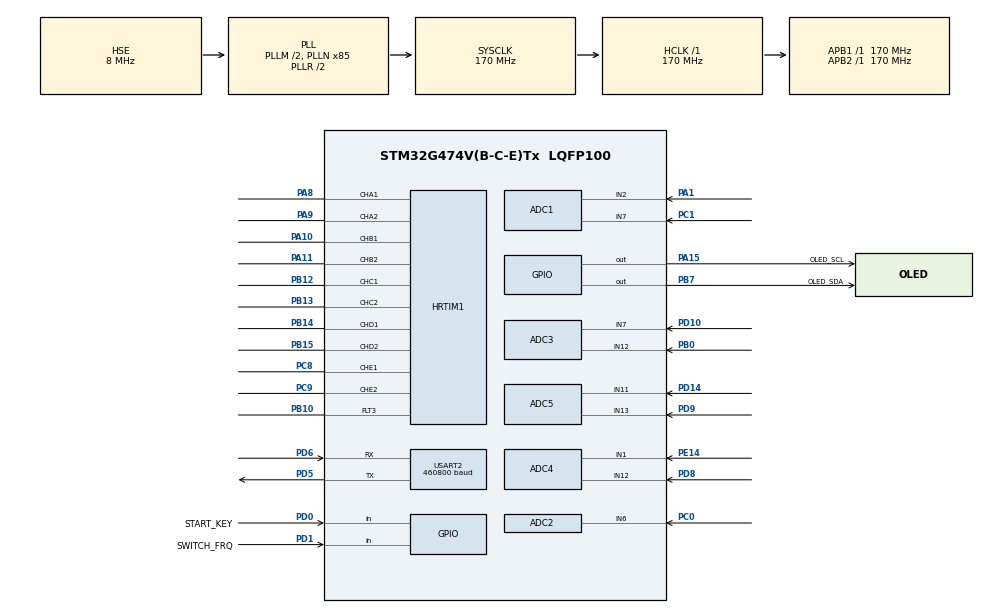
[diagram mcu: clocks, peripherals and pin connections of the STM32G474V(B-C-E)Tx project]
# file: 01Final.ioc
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ADC1.AWD1HighThreshold=4095
ADC1.AWD1ITMode=ENABLE
ADC1.AWD2HighThreshold=4095
ADC1.AWD2ITMode=ENABLE
ADC1.AWDChannel-1\#ChannelRegularConversion=ADC_CHANNEL_7
ADC1.Channel-0\#ChannelRegularConversion=ADC_CHANNEL_2
ADC1.Channel-1\#ChannelRegularConversion=ADC_CHANNEL_7
ADC1.ClockPrescaler=ADC_CLOCK_ASYNC_DIV4
ADC1.DMAContinuousRequests=ENABLE
ADC1.EOCSelection=ADC_EOC_SEQ_CONV
ADC1.EnableAnalogWatchDog1=true
ADC1.EnableAnalogWatchDog2=true
ADC1.ExternalTrigConv=ADC_EXTERNALTRIG_HRTIM_TRG1
ADC1.MonitoredBy-1\#ChannelRegularConversion=ADC_ANALOGWATCHDOG_2
ADC1.NbrOfConversion=2
ADC1.NbrOfConversionFlag=1
ADC1.OffsetNumber-0\#ChannelRegularConversion=ADC_OFFSET_NONE
ADC1.OffsetNumber-1\#ChannelRegularConversion=ADC_OFFSET_NONE
ADC1.Overrun=ADC_OVR_DATA_OVERWRITTEN
ADC1.Rank-0\#ChannelRegularConversion=1
ADC1.Rank-1\#ChannelRegularConversion=2
ADC1.RegFilteringConfig-1\#ChannelRegularConversion=ADC_AWD_FILTERING_NONE
ADC1.SamplingTime-0\#ChannelRegularConversion=ADC_SAMPLETIME_24CYCLES_5
ADC1.SamplingTime-1\#ChannelRegularConversion=ADC_SAMPLETIME_24CYCLES_5
ADC1.WDG2ChannelR2=ADC_CHANNEL_7
ADC1.WatchdogChannel=ADC_CHANNEL_2
ADC1.WatchdogMode2=ADC_ANALOGWATCHDOG_SINGLE_REGINJEC
ADC1.master=1
ADC2.AWD1HighThreshold=4095
ADC2.AWD1ITMode=ENABLE
ADC2.Channel-0\#ChannelRegularConversion=ADC_CHANNEL_6
ADC2.ClockPrescaler=ADC_CLOCK_ASYNC_DIV4
ADC2.DMAContinuousRequests=ENABLE
ADC2.EOCSelection=ADC_EOC_SEQ_CONV
ADC2.EnableAnalogWatchDog1=true
ADC2.ExternalTrigConv=ADC_EXTERNALTRIG_HRTIM_TRG1
ADC2.NbrOfConversion=1
ADC2.NbrOfConversionFlag=1
ADC2.OffsetNumber-0\#ChannelRegularConversion=ADC_OFFSET_NONE
ADC2.Overrun=ADC_OVR_DATA_OVERWRITTEN
ADC2.Rank-0\#ChannelRegularConversion=1
ADC2.SamplingTime-0\#ChannelRegularConversion=ADC_SAMPLETIME_24CYCLES_5
ADC2.WatchdogChannel=ADC_CHANNEL_6
ADC3.AWD1HighThreshold=4095
ADC3.AWD1ITMode=ENABLE
ADC3.AWD2HighThreshold=4095
ADC3.AWD2ITMode=ENABLE
ADC3.AWDChannel-2\#ChannelRegularConversion=ADC_CHANNEL_7
ADC3.Channel-0\#ChannelRegularConversion=ADC_CHANNEL_12
ADC3.Channel-2\#ChannelRegularConversion=ADC_CHANNEL_7
ADC3.ClockPrescaler=ADC_CLOCK_ASYNC_DIV4
ADC3.DMAContinuousRequests=ENABLE
ADC3.EOCSelection=ADC_EOC_SEQ_CONV
ADC3.EnableAnalogWatchDog1=true
ADC3.EnableAnalogWatchDog2=true
ADC3.ExternalTrigConv=ADC_EXTERNALTRIG_HRTIM_TRG2
ADC3.MonitoredBy-2\#ChannelRegularConversion=ADC_ANALOGWATCHDOG_2
ADC3.NbrOfConversion=2
ADC3.NbrOfConversionFlag=1
ADC3.OffsetNumber-2\#ChannelRegularConversion=ADC_OFFSET_NONE
ADC3.Overrun=ADC_OVR_DATA_OVERWRITTEN
ADC3.Rank-2\#ChannelRegularConversion=2
ADC3.RegFilteringConfig-2\#ChannelRegularConversion=ADC_AWD_FILTERING_NONE
ADC3.SamplingTime-0\#ChannelRegularConversion=ADC_SAMPLETIME_24CYCLES_5
ADC3.SamplingTime-2\#ChannelRegularConversion=ADC_SAMPLETIME_24CYCLES_5
ADC3.WDG2ChannelR2=ADC_CHANNEL_7
ADC3.WatchdogChannel=ADC_CHANNEL_12
ADC3.WatchdogMode2=ADC_ANALOGWATCHDOG_SINGLE_REGINJEC
ADC3.master=1
ADC4.AWD1HighThreshold=4095
ADC4.AWD1ITMode=ENABLE
ADC4.AWD2HighThreshold=4095
ADC4.AWD2ITMode=ENABLE
ADC4.AWDChannel-1\#ChannelRegularConversion=ADC_CHANNEL_1
ADC4.Channel-0\#ChannelRegularConversion=ADC_CHANNEL_12
ADC4.Channel-1\#ChannelRegularConversion=ADC_CHANNEL_1
ADC4.ClockPrescaler=ADC_CLOCK_ASYNC_DIV4
ADC4.DMAContinuousRequests=ENABLE
ADC4.EOCSelection=ADC_EOC_SEQ_CONV
ADC4.EnableAnalogWatchDog1=true
ADC4.EnableAnalogWatchDog2=true
ADC4.ExternalTrigConv=ADC_EXTERNALTRIG_HRTIM_TRG2
ADC4.MonitoredBy-1\#ChannelRegularConversion=ADC_ANALOGWATCHDOG_2
ADC4.NbrOfConversion=2
ADC4.NbrOfConversionFlag=1
ADC4.OffsetNumber-0\#ChannelRegularConversion=ADC_OFFSET_NONE
ADC4.OffsetNumber-1\#ChannelRegularConversion=ADC_OFFSET_NONE
ADC4.Overrun=ADC_OVR_DATA_OVERWRITTEN
ADC4.Rank-0\#ChannelRegularConversion=1
ADC4.Rank-1\#ChannelRegularConversion=2
ADC4.RegFilteringConfig-1\#ChannelRegularConversion=ADC_AWD_FILTERING_NONE
ADC4.SamplingTime-0\#ChannelRegularConversion=ADC_SAMPLETIME_24CYCLES_5
ADC4.SamplingTime-1\#ChannelRegularConversion=ADC_SAMPLETIME_24CYCLES_5
ADC4.WDG2ChannelR2=ADC_CHANNEL_1
ADC4.WatchdogChannel=ADC_CHANNEL_12
ADC4.WatchdogMode2=ADC_ANALOGWATCHDOG_SINGLE_REGINJEC
ADC5.AWD1HighThreshold=4095
ADC5.AWD1ITMode=ENABLE
ADC5.AWD2HighThreshold=4095
ADC5.AWD2ITMode=ENABLE
ADC5.AWDChannel-1\#ChannelRegularConversion=ADC_CHANNEL_11
ADC5.Channel-0\#ChannelRegularConversion=ADC_CHANNEL_13
ADC5.Channel-1\#ChannelRegularConversion=ADC_CHANNEL_11
ADC5.ClockPrescaler=ADC_CLOCK_ASYNC_DIV4
ADC5.DMAContinuousRequests=ENABLE
ADC5.EOCSelection=ADC_EOC_SEQ_CONV
ADC5.EnableAnalogWatchDog1=true
ADC5.EnableAnalogWatchDog2=true
ADC5.ExternalTrigConv=ADC_EXTERNALTRIG_HRTIM_TRG2
ADC5.MonitoredBy-1\#ChannelRegularConversion=ADC_ANALOGWATCHDOG_2
ADC5.NbrOfConversion=2
ADC5.NbrOfConversionFlag=1
ADC5.OffsetNumber-0\#ChannelRegularConversion=ADC_OFFSET_NONE
ADC5.OffsetNumber-1\#ChannelRegularConversion=ADC_OFFSET_NONE
ADC5.Overrun=ADC_OVR_DATA_OVERWRITTEN
ADC5.Rank-0\#ChannelRegularConversion=1
ADC5.Rank-1\#ChannelRegularConversion=2
ADC5.RegFilteringConfig-1\#ChannelRegularConversion=ADC_AWD_FILTERING_NONE
ADC5.SamplingTime-0\#ChannelRegularConversion=ADC_SAMPLETIME_24CYCLES_5
ADC5.SamplingTime-1\#ChannelRegularConversion=ADC_SAMPLETIME_24CYCLES_5
ADC5.WDG2ChannelR2=ADC_CHANNEL_11
ADC5.WatchdogChannel=ADC_CHANNEL_13
ADC5.WatchdogMode2=ADC_ANALOGWATCHDOG_SINGLE_REGINJEC
Dma.ADC1.0.Direction=DMA_PERIPH_TO_MEMORY
Dma.ADC1.0.EventEnable=DISABLE
Dma.ADC1.0.Instance=DMA1_Channel1
Dma.ADC1.0.MemDataAlignment=DMA_MDATAALIGN_HALFWORD
Dma.ADC1.0.MemInc=DMA_MINC_ENABLE
Dma.ADC1.0.Mode=DMA_CIRCULAR
Dma.ADC1.0.PeriphDataAlignment=DMA_PDATAALIGN_HALFWORD
Dma.ADC1.0.PeriphInc=DMA_PINC_DISABLE
Dma.ADC1.0.Polarity=HAL_DMAMUX_REQ_GEN_RISING
Dma.ADC1.0.Priority=DMA_PRIORITY_HIGH
Dma.ADC1.0.RequestNumber=1
Dma.ADC1.0.SignalID=NONE
Dma.ADC1.0.SyncEnable=DISABLE
Dma.ADC1.0.SyncPolarity=HAL_DMAMUX_SYNC_NO_EVENT
Dma.ADC1.0.SyncRequestNumber=1
Dma.ADC1.0.SyncSignalID=NONE
Dma.ADC2.1.Direction=DMA_PERIPH_TO_MEMORY
Dma.ADC2.1.EventEnable=DISABLE
Dma.ADC2.1.Instance=DMA1_Channel2
Dma.ADC2.1.MemDataAlignment=DMA_MDATAALIGN_HALFWORD
Dma.ADC2.1.MemInc=DMA_MINC_ENABLE
Dma.ADC2.1.Mode=DMA_CIRCULAR
Dma.ADC2.1.PeriphDataAlignment=DMA_PDATAALIGN_HALFWORD
Dma.ADC2.1.PeriphInc=DMA_PINC_DISABLE
Dma.ADC2.1.Polarity=HAL_DMAMUX_REQ_GEN_RISING
Dma.ADC2.1.Priority=DMA_PRIORITY_HIGH
Dma.ADC2.1.RequestNumber=1
Dma.ADC2.1.SignalID=NONE
Dma.ADC2.1.SyncEnable=DISABLE
Dma.ADC2.1.SyncPolarity=HAL_DMAMUX_SYNC_NO_EVENT
Dma.ADC2.1.SyncRequestNumber=1
Dma.ADC2.1.SyncSignalID=NONE
Dma.ADC3.4.Direction=DMA_PERIPH_TO_MEMORY
Dma.ADC3.4.EventEnable=DISABLE
Dma.ADC3.4.Instance=DMA2_Channel1
Dma.ADC3.4.MemDataAlignment=DMA_MDATAALIGN_HALFWORD
Dma.ADC3.4.MemInc=DMA_MINC_ENABLE
Dma.ADC3.4.Mode=DMA_CIRCULAR
Dma.ADC3.4.PeriphDataAlignment=DMA_PDATAALIGN_HALFWORD
Dma.ADC3.4.PeriphInc=DMA_PINC_DISABLE
Dma.ADC3.4.Polarity=HAL_DMAMUX_REQ_GEN_RISING
Dma.ADC3.4.Priority=DMA_PRIORITY_HIGH
Dma.ADC3.4.RequestNumber=1
Dma.ADC3.4.SignalID=NONE
Dma.ADC3.4.SyncEnable=DISABLE
Dma.ADC3.4.SyncPolarity=HAL_DMAMUX_SYNC_NO_EVENT
Dma.ADC3.4.SyncRequestNumber=1
Dma.ADC3.4.SyncSignalID=NONE
Dma.ADC4.2.Direction=DMA_PERIPH_TO_MEMORY
Dma.ADC4.2.EventEnable=DISABLE
Dma.ADC4.2.Instance=DMA2_Channel2
Dma.ADC4.2.MemDataAlignment=DMA_MDATAALIGN_HALFWORD
Dma.ADC4.2.MemInc=DMA_MINC_ENABLE
Dma.ADC4.2.Mode=DMA_CIRCULAR
Dma.ADC4.2.PeriphDataAlignment=DMA_PDATAALIGN_HALFWORD
Dma.ADC4.2.PeriphInc=DMA_PINC_DISABLE
Dma.ADC4.2.Polarity=HAL_DMAMUX_REQ_GEN_RISING
Dma.ADC4.2.Priority=DMA_PRIORITY_HIGH
Dma.ADC4.2.RequestNumber=1
Dma.ADC4.2.SignalID=NONE
Dma.ADC4.2.SyncEnable=DISABLE
Dma.ADC4.2.SyncPolarity=HAL_DMAMUX_SYNC_NO_EVENT
Dma.ADC4.2.SyncRequestNumber=1
Dma.ADC4.2.SyncSignalID=NONE
Dma.ADC5.3.Direction=DMA_PERIPH_TO_MEMORY
Dma.ADC5.3.EventEnable=DISABLE
Dma.ADC5.3.Instance=DMA2_Channel3
Dma.ADC5.3.MemDataAlignment=DMA_MDATAALIGN_HALFWORD
Dma.ADC5.3.MemInc=DMA_MINC_ENABLE
Dma.ADC5.3.Mode=DMA_CIRCULAR
Dma.ADC5.3.PeriphDataAlignment=DMA_PDATAALIGN_HALFWORD
Dma.ADC5.3.PeriphInc=DMA_PINC_DISABLE
Dma.ADC5.3.Polarity=HAL_DMAMUX_REQ_GEN_RISING
Dma.ADC5.3.Priority=DMA_PRIORITY_HIGH
Dma.ADC5.3.RequestNumber=1
Dma.ADC5.3.SignalID=NONE
Dma.ADC5.3.SyncEnable=DISABLE
Dma.ADC5.3.SyncPolarity=HAL_DMAMUX_SYNC_NO_EVENT
Dma.ADC5.3.SyncRequestNumber=1
Dma.ADC5.3.SyncSignalID=NONE
Dma.Request0=ADC1
Dma.Request1=ADC2
Dma.Request2=ADC4
Dma.Request3=ADC5
Dma.Request4=ADC3
HRTIM1.ADCTrigger1_Source1=HRTIM_ADCTRIGGEREVENT13_MASTER_CMP2
HRTIM1.ADCTrigger2_Source1=HRTIM_ADCTRIGGEREVENT24_MASTER_CMP2
HRTIM1.ADCTrigger_Id1=HRTIM_ADCTRIGGER_1
HRTIM1.ADCTrigger_Id2=HRTIM_ADCTRIGGER_2
HRTIM1.BlankingSourceFaultLine3=__NULL
HRTIM1.Bmrom_TA=HRTIM_TIM_BMROM_BOTH
HRTIM1.Bmrom_TB=HRTIM_TIM_BMROM_BOTH
HRTIM1.Bmrom_TC=HRTIM_TIM_BMROM_BOTH
HRTIM1.Bmrom_TD=HRTIM_TIM_BMROM_BOTH
HRTIM1.Bmrom_TE=HRTIM_TIM_BMROM_BOTH
HRTIM1.CompareUnit1-MasterTimer=__NULL
HRTIM1.CompareUnit1-Output_TA1TA2=HRTIM_COMPAREUNIT_1
HRTIM1.CompareUnit1-Output_TB1TB2=HRTIM_COMPAREUNIT_1
HRTIM1.CompareUnit1-Output_TC1TC2=HRTIM_COMPAREUNIT_1
HRTIM1.CompareUnit1-Output_TD1TD2=HRTIM_COMPAREUNIT_1
HRTIM1.CompareUnit1-Output_TE1TE2=HRTIM_COMPAREUNIT_1
HRTIM1.CompareUnit2-MasterTimer=HRTIM_COMPAREUNIT_2
HRTIM1.CompareValue1-Output_TA1TA2=17000
HRTIM1.CompareValue1-Output_TB1TB2=17000
HRTIM1.CompareValue1-Output_TC1TC2=17000
HRTIM1.CompareValue1-Output_TD1TD2=17000
HRTIM1.CompareValue1-Output_TE1TE2=17000
HRTIM1.CompareValue2-MasterTimer=17000
HRTIM1.DeadTimeInsertion-Output_TA1TA2=HRTIM_TIMDEADTIMEINSERTION_ENABLED
HRTIM1.DeadTimeInsertion-Output_TB1TB2=HRTIM_TIMDEADTIMEINSERTION_ENABLED
HRTIM1.DeadTimeInsertion-Output_TC1TC2=HRTIM_TIMDEADTIMEINSERTION_ENABLED
HRTIM1.DeadTimeInsertion-Output_TD1TD2=HRTIM_TIMDEADTIMEINSERTION_ENABLED
HRTIM1.DeadTimeInsertion-Output_TE1TE2=HRTIM_TIMDEADTIMEINSERTION_ENABLED
HRTIM1.FallingValue-Output_TA1TA2=85
HRTIM1.FallingValue-Output_TB1TB2=85
HRTIM1.FallingValue-Output_TC1TC2=85
HRTIM1.FallingValue-Output_TD1TD2=85
HRTIM1.FallingValue-Output_TE1TE2=85
HRTIM1.FaultEnable_Source1-Output_TA1TA2=HRTIM_TIMFAULTENABLE_FAULT3
HRTIM1.FaultEnable_Source1-Output_TB1TB2=HRTIM_TIMFAULTENABLE_FAULT3
HRTIM1.FaultEnable_Source1-Output_TC1TC2=HRTIM_TIMFAULTENABLE_FAULT3
HRTIM1.FaultEnable_Source1-Output_TD1TD2=HRTIM_TIMFAULTENABLE_FAULT3
HRTIM1.FaultEnable_Source1-Output_TE1TE2=HRTIM_TIMFAULTENABLE_FAULT3
HRTIM1.FaultLevel1-Output_TA1TA2=HRTIM_OUTPUTFAULTLEVEL_INACTIVE
HRTIM1.FaultLevel1-Output_TB1TB2=HRTIM_OUTPUTFAULTLEVEL_INACTIVE
HRTIM1.FaultLevel1-Output_TC1TC2=HRTIM_OUTPUTFAULTLEVEL_INACTIVE
HRTIM1.FaultLevel1-Output_TD1TD2=HRTIM_OUTPUTFAULTLEVEL_INACTIVE
HRTIM1.FaultLevel1-Output_TE1TE2=HRTIM_OUTPUTFAULTLEVEL_INACTIVE
HRTIM1.FaultLevel2-Output_TA1TA2=HRTIM_OUTPUTFAULTLEVEL_INACTIVE
HRTIM1.FaultLevel2-Output_TB1TB2=HRTIM_OUTPUTFAULTLEVEL_INACTIVE
HRTIM1.FaultLevel2-Output_TC1TC2=HRTIM_OUTPUTFAULTLEVEL_INACTIVE
HRTIM1.FaultLevel2-Output_TD1TD2=HRTIM_OUTPUTFAULTLEVEL_INACTIVE
HRTIM1.FaultLevel2-Output_TE1TE2=HRTIM_OUTPUTFAULTLEVEL_INACTIVE
HRTIM1.Fault_Line3=HRTIM_FAULT_3
HRTIM1.Ferom_TA=HRTIM_TIM_FEROM_BOTH
HRTIM1.Ferom_TB=HRTIM_TIM_FEROM_BOTH
HRTIM1.Ferom_TC=HRTIM_TIM_FEROM_BOTH
HRTIM1.Ferom_TD=HRTIM_TIM_FEROM_BOTH
HRTIM1.Ferom_TE=HRTIM_TIM_FEROM_BOTH
HRTIM1.HRTIMInterruptResquests1=HRTIM_IT_FLT3
HRTIM1.NumberADCTriggerSource1=1
HRTIM1.NumberADCTriggerSource2=1
HRTIM1.NumberFaultEnable-Output_TA1TA2=1
HRTIM1.NumberFaultEnable-Output_TB1TB2=1
HRTIM1.NumberFaultEnable-Output_TC1TC2=1
HRTIM1.NumberFaultEnable-Output_TD1TD2=1
HRTIM1.NumberFaultEnable-Output_TE1TE2=1
HRTIM1.NumberResetSource1-Output_TA1TA2=1
HRTIM1.NumberResetSource1-Output_TB1TB2=1
HRTIM1.NumberResetSource1-Output_TC1TC2=1
HRTIM1.NumberResetSource1-Output_TD1TD2=1
HRTIM1.NumberResetSource1-Output_TE1TE2=1
HRTIM1.NumberSetSource1-Output_TA1TA2=1
HRTIM1.NumberSetSource1-Output_TB1TB2=1
HRTIM1.NumberSetSource1-Output_TC1TC2=1
HRTIM1.NumberSetSource1-Output_TD1TD2=1
HRTIM1.NumberSetSource1-Output_TE1TE2=1
HRTIM1.NumberUpdateTrigger-Output_TA1TA2=0
HRTIM1.Outrom_TA=HRTIM_TIM_OUTROM_VALLEY
HRTIM1.Outrom_TB=HRTIM_TIM_OUTROM_VALLEY
HRTIM1.Outrom_TC=HRTIM_TIM_OUTROM_VALLEY
HRTIM1.Outrom_TD=HRTIM_TIM_OUTROM_VALLEY
HRTIM1.Outrom_TE=HRTIM_TIM_OUTROM_VALLEY
HRTIM1.Periode_MASTER=34000
HRTIM1.Periode_TA=34000
HRTIM1.Periode_TB=34000
HRTIM1.Periode_TC=34000
HRTIM1.Periode_TD=34000
HRTIM1.Periode_TE=34000
HRTIM1.Polarity_FaultLine3=HRTIM_FAULTPOLARITY_LOW
HRTIM1.PreloadEnable-Output_TA1TA2=HRTIM_PRELOAD_ENABLED
HRTIM1.PreloadEnable-Output_TB1TB2=HRTIM_PRELOAD_ENABLED
HRTIM1.PreloadEnable-Output_TC1TC2=HRTIM_PRELOAD_ENABLED
HRTIM1.PreloadEnable-Output_TD1TD2=HRTIM_PRELOAD_ENABLED
HRTIM1.PreloadEnable-Output_TE1TE2=HRTIM_PRELOAD_ENABLED
HRTIM1.PrescalerDead-Output_TA1TA2=HRTIM_TIMDEADTIME_PRESCALERRATIO_DIV1
HRTIM1.PrescalerDead-Output_TB1TB2=HRTIM_TIMDEADTIME_PRESCALERRATIO_DIV1
HRTIM1.PrescalerDead-Output_TC1TC2=HRTIM_TIMDEADTIME_PRESCALERRATIO_DIV1
HRTIM1.PrescalerDead-Output_TD1TD2=HRTIM_TIMDEADTIME_PRESCALERRATIO_DIV1
HRTIM1.PrescalerDead-Output_TE1TE2=HRTIM_TIMDEADTIME_PRESCALERRATIO_DIV1
HRTIM1.PrescalerRatio_MASTER=HRTIM_PRESCALERRATIO_MUL2
HRTIM1.PrescalerRatio_TA=HRTIM_PRESCALERRATIO_MUL4
HRTIM1.PrescalerRatio_TB=HRTIM_PRESCALERRATIO_MUL4
HRTIM1.PrescalerRatio_TC=HRTIM_PRESCALERRATIO_MUL4
HRTIM1.PrescalerRatio_TD=HRTIM_PRESCALERRATIO_MUL4
HRTIM1.PrescalerRatio_TE=HRTIM_PRESCALERRATIO_MUL4
HRTIM1.RepetitionCounter-MasterTimer=0
HRTIM1.RepetitionCounter-Output_TA1TA2=0
HRTIM1.RepetitionCounter-Output_TB1TB2=0
HRTIM1.RepetitionCounter-Output_TC1TC2=0
HRTIM1.RepetitionCounter-Output_TD1TD2=0
HRTIM1.RepetitionCounter-Output_TE1TE2=0
HRTIM1.RepetitionUpdate-Output_TA1TA2=HRTIM_UPDATEONREPETITION_ENABLED
HRTIM1.RepetitionUpdate-Output_TB1TB2=HRTIM_UPDATEONREPETITION_ENABLED
HRTIM1.RepetitionUpdate-Output_TC1TC2=HRTIM_UPDATEONREPETITION_ENABLED
HRTIM1.RepetitionUpdate-Output_TD1TD2=HRTIM_UPDATEONREPETITION_ENABLED
HRTIM1.RepetitionUpdate-Output_TE1TE2=HRTIM_UPDATEONREPETITION_ENABLED
HRTIM1.ResetOutput1_Source1-Output_TA1TA2=HRTIM_OUTPUTRESET_TIMCMP1
HRTIM1.ResetOutput1_Source1-Output_TB1TB2=HRTIM_OUTPUTRESET_TIMCMP1
HRTIM1.ResetOutput1_Source1-Output_TC1TC2=HRTIM_OUTPUTRESET_TIMCMP1
HRTIM1.ResetOutput1_Source1-Output_TD1TD2=HRTIM_OUTPUTRESET_TIMCMP1
HRTIM1.ResetOutput1_Source1-Output_TE1TE2=HRTIM_OUTPUTRESET_TIMCMP1
HRTIM1.RisingValue-Output_TA1TA2=85
HRTIM1.RisingValue-Output_TB1TB2=85
HRTIM1.RisingValue-Output_TC1TC2=85
HRTIM1.RisingValue-Output_TD1TD2=85
HRTIM1.RisingValue-Output_TE1TE2=85
HRTIM1.SetOutput1_Source1-Output_TA1TA2=HRTIM_OUTPUTSET_TIMCMP1
HRTIM1.SetOutput1_Source1-Output_TB1TB2=HRTIM_OUTPUTSET_TIMCMP1
HRTIM1.SetOutput1_Source1-Output_TC1TC2=HRTIM_OUTPUTSET_TIMCMP1
HRTIM1.SetOutput1_Source1-Output_TD1TD2=HRTIM_OUTPUTSET_TIMCMP1
HRTIM1.SetOutput1_Source1-Output_TE1TE2=HRTIM_OUTPUTSET_TIMCMP1
HRTIM1.UpDownMode-Output_TA1TA2=HRTIM_TIMERUPDOWNMODE_UPDOWN
HRTIM1.UpDownMode-Output_TB1TB2=HRTIM_TIMERUPDOWNMODE_UPDOWN
HRTIM1.UpDownMode-Output_TC1TC2=HRTIM_TIMERUPDOWNMODE_UPDOWN
HRTIM1.UpDownMode-Output_TD1TD2=HRTIM_TIMERUPDOWNMODE_UPDOWN
HRTIM1.UpDownMode-Output_TE1TE2=HRTIM_TIMERUPDOWNMODE_UPDOWN
HRTIM1.postscaler1=0
HRTIM1.postscaler2=0
HRTIM1.rom_TA=HRTIM_TIM_ROM_VALLEY
HRTIM1.rom_TB=HRTIM_TIM_ROM_VALLEY
HRTIM1.rom_TC=HRTIM_TIM_ROM_VALLEY
HRTIM1.rom_TD=HRTIM_TIM_ROM_VALLEY
HRTIM1.rom_TE=HRTIM_TIM_ROM_VALLEY
IWDG.Prescaler=IWDG_PRESCALER_64
IWDG.Reload=249
Mcu.Family=STM32G4
Mcu.Name=STM32G474V(B-C-E)Tx
Mcu.Package=LQFP100
NVIC.ADC1_2_IRQn=true\:1\:0\:true\:false\:true\:true\:true\:true
NVIC.ADC3_IRQn=true\:1\:0\:true\:false\:true\:true\:true\:true
NVIC.ADC4_IRQn=true\:1\:0\:true\:false\:true\:true\:true\:true
NVIC.ADC5_IRQn=true\:1\:0\:true\:false\:true\:true\:true\:true
NVIC.DMA1_Channel1_IRQn=true\:2\:0\:true\:false\:true\:false\:true\:true
NVIC.DMA1_Channel2_IRQn=true\:1\:0\:true\:false\:true\:false\:true\:true
NVIC.DMA2_Channel1_IRQn=true\:1\:0\:true\:false\:true\:false\:true\:true
NVIC.DMA2_Channel2_IRQn=true\:1\:0\:true\:false\:true\:false\:true\:true
NVIC.DMA2_Channel3_IRQn=true\:1\:0\:true\:false\:true\:false\:true\:true
NVIC.HRTIM1_FLT_IRQn=true\:0\:0\:false\:false\:true\:true\:true\:true
NVIC.PriorityGroup=NVIC_PRIORITYGROUP_4
PA1.Mode=IN2-Single-Ended
PA1.Signal=ADC1_IN2
PA10.Mode=Output_TB1TB2
PA10.Signal=HRTIM1_CHB1
PA11.Mode=Output_TB1TB2
PA11.Signal=HRTIM1_CHB2
PA13.Mode=Serial_Wire
PA13.Signal=SYS_JTMS-SWDIO
PA14.Mode=Serial_Wire
PA14.Signal=SYS_JTCK-SWCLK
PA15.GPIO_Label=OLED_SCL
PA15.GPIO_ModeDefaultOutputPP=GPIO_MODE_OUTPUT_PP
PA15.GPIO_PuPd=GPIO_NOPULL
PA15.GPIO_Speed=GPIO_SPEED_FREQ_HIGH
PA15.Signal=GPIO_Output
PA8.Mode=Output_TA1TA2
PA8.Signal=HRTIM1_CHA1
PA9.Mode=Output_TA1TA2
PA9.Signal=HRTIM1_CHA2
PB0.Mode=IN12-Single-Ended
PB0.Signal=ADC3_IN12
PB10.GPIO_PuPd=GPIO_PULLUP
PB10.Mode=Fault_Enable3
PB10.Signal=HRTIM1_FLT3
PB12.Mode=Output_TC1TC2
PB12.Signal=HRTIM1_CHC1
PB13.Mode=Output_TC1TC2
PB13.Signal=HRTIM1_CHC2
PB14.Mode=Output_TD1TD2
PB14.Signal=HRTIM1_CHD1
PB15.Mode=Output_TD1TD2
PB15.Signal=HRTIM1_CHD2
PB7.GPIO_Label=OLED_SDA
PB7.GPIO_ModeDefaultOutputPP=GPIO_MODE_OUTPUT_OD
PB7.GPIO_PuPd=GPIO_NOPULL
PB7.GPIO_Speed=GPIO_SPEED_FREQ_HIGH
PB7.Signal=GPIO_Output
PC0.Mode=IN6-Single-Ended
PC0.Signal=ADC2_IN6
PC1.Mode=IN7-Single-Ended
PC1.Signal=ADC1_IN7
PC8.Mode=Output_TE1TE2
PC8.Signal=HRTIM1_CHE1
PC9.Mode=Output_TE1TE2
PC9.Signal=HRTIM1_CHE2
PD0.GPIO_Label=START_KEY
PD0.GPIO_PuPd=GPIO_PULLUP
PD0.Signal=GPIO_Input
PD1.GPIO_Label=SWITCH_FRQ
PD1.GPIO_PuPd=GPIO_PULLUP
PD1.Signal=GPIO_Input
PD10.Mode=IN7-Single-Ended
PD10.Signal=ADC3_IN7
PD14.Mode=IN11-Single-Ended
PD14.Signal=ADC5_IN11
PD5.Mode=Asynchronous
PD5.Signal=USART2_TX
PD6.Mode=Asynchronous
PD6.Signal=USART2_RX
PD8.Mode=IN12-Single-Ended
PD8.Signal=ADC4_IN12
PD9.Mode=IN13-Single-Ended
PD9.Signal=ADC5_IN13
PE14.Mode=IN1-Single-Ended
PE14.Signal=ADC4_IN1
PF0-OSC_IN.Mode=HSE-External-Oscillator
PF0-OSC_IN.Signal=RCC_OSC_IN
PF1-OSC_OUT.Mode=HSE-External-Oscillator
PF1-OSC_OUT.Signal=RCC_OSC_OUT
ProjectManager.HeapSize=0x200
ProjectManager.StackSize=0x400
ProjectManager.TargetToolchain=MDK-ARM V5.32
RCC.ADC12Freq_Value=170000000
RCC.ADC345Freq_Value=170000000
RCC.AHBFreq_Value=170000000
RCC.APB1Freq_Value=170000000
RCC.APB1TimFreq_Value=170000000
RCC.APB2Freq_Value=170000000
RCC.APB2TimFreq_Value=170000000
RCC.CortexFreq_Value=170000000
RCC.EXTERNAL_CLOCK_VALUE=12288000
RCC.EnbaleCSS=true
RCC.HCLKFreq_Value=170000000
RCC.HSE_VALUE=8000000
RCC.HSI48_VALUE=48000000
RCC.HSI_VALUE=16000000
RCC.LSE_VALUE=32768
RCC.PLLM=RCC_PLLM_DIV2
RCC.PLLN=85
RCC.PLLSourceVirtual=RCC_PLLSOURCE_HSE
RCC.SYSCLKFreq_VALUE=170000000
RCC.SYSCLKSource=RCC_SYSCLKSOURCE_PLLCLK
RCC.USBFreq_Value=170000000
RCC.VCOOutputFreq_Value=340000000
USART2.BaudRate=460800
USART2.VirtualMode-Asynchronous=VM_ASYNC
VP_HRTIM1_VS_hrtimMasterTimerNoOutput.Mode=MasterTimer
VP_IWDG_VS_IWDG.Mode=IWDG_Activate
VP_SYS_VS_DBSignals.Mode=DisableDeadBatterySignals
board=custom

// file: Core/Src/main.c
/* USER CODE BEGIN Header */
/**
  ******************************************************************************
  * @file           : main.c
  * @brief          : PFC双闭环 + 三相INV开环联合验证主程序
  ******************************************************************************
  */
/*
 * 本文件只负责CubeMX外设装配、五路ADC/DMA回调转发、低速显示通信和IWDG监督，
 * 不在主循环中直接读取DMA原始数组，也不在ISR中执行OLED、阻塞USART或HAL_Delay。
 * 联合数据流：HRTIM Master CMP2 -> ADC1/2和ADC3/4/5 -> 各自一致性快照；
 * HRTIM Master REP 10 kHz事件 -> PFC/INV快速控制 -> A~E Compare预装载。
 * ADC3/4/5只发布INV线电压观察快照，不再承担INV开环控制节拍。
 * 默认pfc_inv_user_config.h采用已实测的36 V联合赛题档；需要标定时必须手动切回
 * RAW_ADC并把PWM_ENABLE置0，防止在采样板调整期间误开放功率输出。
 */
/* USER CODE END Header */
#include "main.h"
#include "adc.h"
#include "dma.h"
#include "hrtim.h"
#include "usart.h"
#include "gpio.h"

/* USER CODE BEGIN Includes */
#include <string.h>
#include "OLED.h"
#include "vofa.h"
#include "pfc_inv_user_config.h"
#include "pfc_inv_app.h"
#include "pfc_params.h"
#include "pfc_measure.h"
#include "pfc_control.h"
#include "pfc_hrtim.h"
#include "inv_measure.h"
#include "inv_hrtim.h"
#include "inv_open_loop.h"
#include "iwdg.h"
/* USER CODE END Includes */

/* USER CODE BEGIN PV */
/* VOFA为阻塞发送，只由主循环每10 ms填充和发送；ISR不得访问该缓存。 */
static float vofa_data[VOFA_MAX_CHANNELS] = {0.0f};
static uint8_t vofa_raw_page = 0U;
static const PFC_Params *active_pfc_params = NULL;
/* 复位来源快照只在初始化阶段写入，供PFC状态机区分IWDG复位后的等待时间。 */
static uint8_t iwdg_reset_seen = 0U;
/* USER CODE END PV */

void SystemClock_Config(void);

/* USER CODE BEGIN 0 */
static void JointOledInitLabels(void)
{
  OLED_ShowString(1U, 1U, "P:     I:     ");
  OLED_ShowString(2U, 1U, "UV:    VW:    ");
  OLED_ShowString(3U, 1U, "WU:    F:  Hz ");
  OLED_ShowString(4U, 1U, "F:     H:     ");
}

/**
 * @brief 将完整PFC/INV快照转换为8通道VOFA数据。
 * @note 只由主循环调用；RAW_ADC模式每次在PFC统计页和INV六通道页之间切换，
 *       避免在8通道协议中丢失关键校准量。CH0页号为0或1，便于VOFA识别当前页。
 */
static void JointFillVofa(const PFC_Measurement *pfc,
                          const PFC_AdcCalibrationStats *pfc_stats,
                          const INV_Measurement *inv,
                          const PFC_INV_Telemetry *joint)
{
  INV_OpenLoopOutput reference;
  if ((pfc == NULL) || (pfc_stats == NULL) || (inv == NULL) || (joint == NULL)) { return; }

  if (PFC_INV_STAGE == PFC_INV_STAGE_RAW_ADC)
  {
    if (vofa_raw_page == 0U)
    {
      vofa_data[0] = 0.0f;
      vofa_data[1] = (float)pfc_stats->ipfc_mean;
      vofa_data[2] = (float)pfc_stats->ipfc_min;
      vofa_data[3] = (float)pfc_stats->ipfc_max;
      vofa_data[4] = (float)pfc_stats->vac_mean;
      vofa_data[5] = (float)pfc_stats->vac_min;
      vofa_data[6] = (float)pfc_stats->vac_max;
      vofa_data[7] = (float)pfc_stats->vbus_mean;
    }
    else
    {
      vofa_data[0] = 1.0f;
      vofa_data[1] = (float)inv->vuv_raw;
      vofa_data[2] = (float)inv->vvw_raw;
      vofa_data[3] = (float)inv->vwu_raw;
      vofa_data[4] = (float)inv->adc3_sequence;
      vofa_data[5] = (float)inv->adc4_sequence;
      vofa_data[6] = (float)inv->adc5_sequence;
      vofa_data[7] = (float)inv->fault_bits;
    }
    vofa_raw_page ^= 1U;
  }
  else
  {
    INV_OpenLoop_GetSnapshot(&reference);
    vofa_data[0] = (float)inv->vuv_raw;
    vofa_data[1] = (float)inv->vvw_raw;
    vofa_data[2] = (float)inv->vwu_raw;
    vofa_data[3] = (float)joint->inv_frequency_hz;
    vofa_data[4] = reference.sine_u;
    vofa_data[5] = joint->inv_modulation;
    vofa_data[6] = (float)joint->state;
    vofa_data[7] = (float)(joint->joint_fault_bits | joint->pfc_fault_bits | joint->inv_fault_bits);
  }
}

/** @brief 主循环每100 ms更新数字区域；所有输入均为已发布快照。 */
static void JointRefreshOled(const PFC_Measurement *pfc,
                             const INV_Measurement *inv,
                             const PFC_INV_Telemetry *joint)
{
  if ((pfc == NULL) || (inv == NULL) || (joint == NULL)) { return; }
  OLED_ShowNum(1U, 3U, pfc->vac_raw, 4U);
  OLED_ShowNum(1U, 11U, pfc->ipfc_raw, 4U);
  OLED_ShowNum(2U, 4U, inv->vuv_raw, 4U);
  OLED_ShowNum(2U, 12U, inv->vvw_raw, 4U);
  OLED_ShowNum(3U, 4U, inv->vwu_raw, 4U);
  OLED_ShowNum(3U, 12U, joint->inv_frequency_hz, 2U);
  OLED_ShowHexNum(4U, 3U, joint->joint_fault_bits | joint->pfc_fault_bits | joint->inv_fault_bits, 5U);
  OLED_ShowNum(4U, 11U, joint->inv_heartbeat % 100000U, 5U);
}

/**
 * @brief 处理PFC ADC启动失败。
 * @note RAW_ADC和PFC-only必须停止；INV-only及联合阶段仅锁存PFC诊断，
 *       让ADC3/HRTIM继续为独立INV开环提供时基。
 */
static void JointHandlePfcAdcStartupFault(void)
{
#if (PFC_INV_STAGE == PFC_INV_STAGE_RAW_ADC) || (PFC_INV_STAGE == PFC_INV_STAGE_PFC_ONLY)
  PFC_INV_AppTrip(PFC_INV_FAULT_SYSTEM, PFC_FAULT_ADC_ERROR, INV_FAULT_NONE);
  Error_Handler();
#else
  PFC_Measure_Trip(PFC_FAULT_ADC_ERROR);
#endif
}
/* USER CODE END 0 */

int main(void)
{

  /* MCU Configuration--------------------------------------------------------*/

  /* Reset of all peripherals, Initializes the Flash interface and the Systick. */
  HAL_Init();

  /* Configure the system clock */
  SystemClock_Config();

  /* Initialize all configured peripherals */
  MX_GPIO_Init();
  MX_DMA_Init();
  MX_HRTIM1_Init();
  MX_ADC1_Init();
  MX_ADC2_Init();
  MX_USART2_UART_Init();
  MX_ADC3_Init();
  MX_ADC4_Init();
  MX_ADC5_Init();
  /* USER CODE BEGIN 2 */
  /*
   * CubeMX初始化结束后立即关闭A~E全部输出。计数器、PWM引脚和外部驱动工作是三个
   * 不同状态；下面只允许在五路DMA和联合状态机准备完成后开放对应PWM引脚。
   */
  PFC_INV_AppEmergencyOff();
  PFC_HRTIM_StopPower();
  INV_HRTIM_DisableOutputs();

  iwdg_reset_seen = (__HAL_RCC_GET_FLAG(RCC_FLAG_IWDGRST) != RESET) ? 1U : 0U;
  __HAL_RCC_CLEAR_RESET_FLAGS();
  active_pfc_params = PFC_Params_GetActive();

  /* OLED软件I2C需要上电稳定时间；延时只允许出现在启动阶段。 */
  HAL_Delay(100U);
  OLED_Init();
  JointOledInitLabels();

  if ((active_pfc_params == NULL) ||
      (PFC_INV_AppInit(active_pfc_params, iwdg_reset_seen) != HAL_OK))
  {
    Error_Handler();
  }

  /* ADC1/2承担PFC采样；联合/INV-only阶段校准失败只锁存PFC错误，不阻止HRTIM驱动INV。 */
  if ((HAL_ADCEx_Calibration_Start(&hadc2, ADC_SINGLE_ENDED) != HAL_OK) ||
      (HAL_ADCEx_Calibration_Start(&hadc1, ADC_SINGLE_ENDED) != HAL_OK))
  {
    JointHandlePfcAdcStartupFault();
  }

  /* 标定未确认时两个接口保留CubeMX宽窗口；确认后才写入运行期AWD阈值。 */
  if (PFC_Measure_ConfigureWatchdogs(&hadc1, &hadc2) != HAL_OK)
  {
    JointHandlePfcAdcStartupFault();
  }
  /* ADC3/4/5仅采线电压；校准失败只记录，不影响INV开环PWM许可。 */
  if (HAL_ADCEx_Calibration_Start(&hadc5, ADC_SINGLE_ENDED) != HAL_OK)
  {
    INV_Measure_LatchFault(INV_FAULT_ADC_ERROR);
  }
  if (HAL_ADCEx_Calibration_Start(&hadc4, ADC_SINGLE_ENDED) != HAL_OK)
  {
    INV_Measure_LatchFault(INV_FAULT_ADC_ERROR);
  }
  if (HAL_ADCEx_Calibration_Start(&hadc3, ADC_SINGLE_ENDED) != HAL_OK)
  {
    INV_Measure_LatchFault(INV_FAULT_ADC_ERROR);
  }
  /* INV线电压AWD配置失败只影响诊断，不得阻止开环C/D/E发波。 */
  if (INV_Measure_ConfigureWatchdogs(&hadc3, &hadc4, &hadc5) != HAL_OK)
  {
    INV_Measure_LatchFault(INV_FAULT_ADC_WATCHDOG);
  }

  /*
   * 先启动所有DMA，让ADC在HRTIM触发到来前进入等待状态。每个数组长度必须与规则组
   * Rank数一致；ADC1完整帧是PFC入口，ADC3/4/5只发布INV线电压快照，INV控制由HRTIM REP事件驱动。
   */
  if ((HAL_ADC_Start_DMA(&hadc2, (uint32_t *)PFC_Adc2Dma, 1U) != HAL_OK) ||
      (HAL_ADC_Start_DMA(&hadc1, (uint32_t *)PFC_Adc1Dma, 2U) != HAL_OK))
  {
    JointHandlePfcAdcStartupFault();
  }
  if (HAL_ADC_Start_DMA(&hadc5, (uint32_t *)INV_Adc5Dma, 2U) != HAL_OK)
  {
    INV_Measure_LatchFault(INV_FAULT_ADC_ERROR);
  }
  if (HAL_ADC_Start_DMA(&hadc4, (uint32_t *)INV_Adc4Dma, 2U) != HAL_OK)
  {
    INV_Measure_LatchFault(INV_FAULT_ADC_ERROR);
  }
  if (HAL_ADC_Start_DMA(&hadc3, (uint32_t *)INV_Adc3Dma, 2U) != HAL_OK)
  {
    INV_Measure_LatchFault(INV_FAULT_ADC_ERROR);
  }

  /* Half Transfer不是完整Rank帧，必须关闭，防止同一PWM周期重复执行控制。 */
  __HAL_DMA_DISABLE_IT(hadc5.DMA_Handle, DMA_IT_HT);
  __HAL_DMA_DISABLE_IT(hadc4.DMA_Handle, DMA_IT_HT);
  __HAL_DMA_DISABLE_IT(hadc3.DMA_Handle, DMA_IT_HT);
  __HAL_DMA_DISABLE_IT(hadc2.DMA_Handle, DMA_IT_HT);
  __HAL_DMA_DISABLE_IT(hadc1.DMA_Handle, DMA_IT_HT);

  /* 联合层一次性启动Master和A~E计数器；该调用仍不开放任何PWM输出引脚。 */
  if (PFC_INV_AppStartSharedTimebase() != HAL_OK)
  {
    PFC_INV_AppTrip(PFC_INV_FAULT_HRTIM, PFC_FAULT_HRTIM, INV_FAULT_HRTIM);
    Error_Handler();
  }

  /* RAW/PFC-only等待PFC序列；联合和INV-only不以ADC3/4/5序列作为发波门槛。 */
  {
    uint32_t sampling_start_tick = HAL_GetTick();
    while (PFC_INV_AppSamplingReady() == 0U)
    {
      if ((HAL_GetTick() - sampling_start_tick) >= 200U)
      {
        PFC_INV_AppTrip(PFC_INV_FAULT_SEQUENCE, PFC_FAULT_ADC_SYNC,
                        INV_FAULT_ADC_SYNC);
        Error_Handler();
      }
    }
  }

  /* IWDG最后初始化；之后只有联合监督确认活动域均前进时才刷新。 */
  MX_IWDG_Init();
  __HAL_DBGMCU_FREEZE_IWDG();
  /* USER CODE END 2 */

  /* Infinite loop */
  /* USER CODE BEGIN WHILE */
  uint32_t app_tick = HAL_GetTick();
  uint32_t vofa_tick = HAL_GetTick();
  uint32_t oled_tick = HAL_GetTick();
  uint32_t supervisor_tick = HAL_GetTick();
  while (1)
  {
    /* USER CODE END WHILE */

    /* USER CODE BEGIN 3 */
    while ((HAL_GetTick() - app_tick) >= 1U)
    {
      app_tick++;
      PFC_INV_AppTick1ms();
    }

    if ((HAL_GetTick() - vofa_tick) >= PFC_INV_VOFA_PERIOD_MS)
    {
      PFC_Measurement pfc;
      PFC_AdcCalibrationStats pfc_stats;
      INV_Measurement inv;
      PFC_INV_Telemetry joint;

      vofa_tick = HAL_GetTick();
      PFC_Measure_GetSnapshot(&pfc);
      PFC_Measure_GetCalibrationStats(&pfc_stats);
      INV_Measure_GetSnapshot(&inv);
      PFC_INV_AppGetTelemetry(&joint);
      JointFillVofa(&pfc, &pfc_stats, &inv, &joint);
      /* USART发送失败不参与功率许可，避免调试线断开导致PWM停机。 */
      (void)VOFA_Send(&huart2, vofa_data, VOFA_MAX_CHANNELS);
    }

    if ((HAL_GetTick() - oled_tick) >= PFC_INV_OLED_PERIOD_MS)
    {
      PFC_Measurement pfc;
      INV_Measurement inv;
      PFC_INV_Telemetry joint;

      oled_tick = HAL_GetTick();
      PFC_Measure_GetSnapshot(&pfc);
      INV_Measure_GetSnapshot(&inv);
      PFC_INV_AppGetTelemetry(&joint);
      JointRefreshOled(&pfc, &inv, &joint);
    }

    if ((HAL_GetTick() - supervisor_tick) >= PFC_INV_SUPERVISOR_PERIOD_MS)
    {
      supervisor_tick = HAL_GetTick();
      if (PFC_INV_AppWatchdogHealthy() != 0U)
      {
        (void)HAL_IWDG_Refresh(&hiwdg);
      }
    }
  }
  /* USER CODE END 3 */
}

void SystemClock_Config(void)
{
  RCC_OscInitTypeDef RCC_OscInitStruct = {0};
  RCC_ClkInitTypeDef RCC_ClkInitStruct = {0};

  /** Configure the main internal regulator output voltage
  */
  HAL_PWREx_ControlVoltageScaling(PWR_REGULATOR_VOLTAGE_SCALE1_BOOST);

  /** Initializes the RCC Oscillators according to the specified parameters
  * in the RCC_OscInitTypeDef structure.
  */
  RCC_OscInitStruct.OscillatorType = RCC_OSCILLATORTYPE_LSI|RCC_OSCILLATORTYPE_HSE;
  RCC_OscInitStruct.HSEState = RCC_HSE_ON;
  RCC_OscInitStruct.LSIState = RCC_LSI_ON;
  RCC_OscInitStruct.PLL.PLLState = RCC_PLL_ON;
  RCC_OscInitStruct.PLL.PLLSource = RCC_PLLSOURCE_HSE;
  RCC_OscInitStruct.PLL.PLLM = RCC_PLLM_DIV2;
  RCC_OscInitStruct.PLL.PLLN = 85;
  RCC_OscInitStruct.PLL.PLLP = RCC_PLLP_DIV2;
  RCC_OscInitStruct.PLL.PLLQ = RCC_PLLQ_DIV2;
  RCC_OscInitStruct.PLL.PLLR = RCC_PLLR_DIV2;
  if (HAL_RCC_OscConfig(&RCC_OscInitStruct) != HAL_OK)
  {
    Error_Handler();
  }

  /** Initializes the CPU, AHB and APB buses clocks
  */
  RCC_ClkInitStruct.ClockType = RCC_CLOCKTYPE_HCLK|RCC_CLOCKTYPE_SYSCLK
                              |RCC_CLOCKTYPE_PCLK1|RCC_CLOCKTYPE_PCLK2;
  RCC_ClkInitStruct.SYSCLKSource = RCC_SYSCLKSOURCE_PLLCLK;
  RCC_ClkInitStruct.AHBCLKDivider = RCC_SYSCLK_DIV1;
  RCC_ClkInitStruct.APB1CLKDivider = RCC_HCLK_DIV1;
  RCC_ClkInitStruct.APB2CLKDivider = RCC_HCLK_DIV1;

  if (HAL_RCC_ClockConfig(&RCC_ClkInitStruct, FLASH_LATENCY_4) != HAL_OK)
  {
    Error_Handler();
  }

  /** Enables the Clock Security System
  */
  HAL_RCC_EnableCSS();
}

/* USER CODE BEGIN 4 */
void HAL_ADC_ConvCpltCallback(ADC_HandleTypeDef *hadc)
{
  if ((hadc == NULL) || (hadc->Instance == NULL)) { return; }
  if (hadc->Instance == ADC2)
  {
    PFC_Measure_OnAdc2Complete();
  }
  else if (hadc->Instance == ADC1)
  {
    PFC_Measure_OnAdc1Complete();
    if (PFC_Measure_GetFault() == PFC_FAULT_NONE) { PFC_INV_AppFastPfcStep(); }
  }
  else if (hadc->Instance == ADC3)
  {
    INV_Measurement frame;
    (void)INV_Measure_OnAdc3Complete(&frame);
  }
  else if (hadc->Instance == ADC4)
  {
    INV_Measurement frame;
    (void)INV_Measure_OnAdc4Complete(&frame);
  }
  else if (hadc->Instance == ADC5)
  {
    INV_Measurement frame;
    (void)INV_Measure_OnAdc5Complete(&frame);
  }
}

/**
  * @brief HRTIM Master重复事件回调，提供INV开环唯一10 kHz控制入口。
  * @param hhrtim HRTIM句柄；仅接受HRTIM1。
  * @param TimerIdx 事件来源；仅接受HRTIM_TIMERINDEX_MASTER。
  * @note 运行于HRTIM Master ISR上下文；只允许执行快速控制和Compare更新，
  *       禁止OLED、VOFA、阻塞USART、HAL_Delay及动态内存操作。ADC3/4/5停止时
  *       该回调仍持续运行，因此线电压采样异常不会使INV因IWDG心跳停止而复位。
  */
void HAL_HRTIM_RepetitionEventCallback(HRTIM_HandleTypeDef *hhrtim,
                                       uint32_t TimerIdx)
{
  if ((hhrtim != NULL) &&
      (hhrtim->Instance == HRTIM1) &&
      (TimerIdx == HRTIM_TIMERINDEX_MASTER))
  {
    PFC_INV_AppFastInvStep();
  }
}

void HAL_ADC_ErrorCallback(ADC_HandleTypeDef *hadc)
{
  if ((hadc == NULL) || (hadc->Instance == ADC1) || (hadc->Instance == ADC2))
  {
    PFC_INV_AppReportPfcFault(PFC_FAULT_ADC_ERROR);
  }
  else if ((hadc->Instance == ADC3) || (hadc->Instance == ADC4) ||
           (hadc->Instance == ADC5))
  {
    /* INV ADC错误只记录线电压采样诊断，绝不在此关闭C/D/E。 */
    INV_Measure_LatchFault(INV_FAULT_ADC_ERROR);
  }
}

void HAL_ADC_LevelOutOfWindowCallback(ADC_HandleTypeDef *hadc)
{
  if ((hadc == NULL) || (hadc->Instance == ADC1))
  {
#if PFC_USER_RELAXED_PWM_TEST == 0U
    PFC_INV_AppReportPfcFault(PFC_FAULT_AWD_IPFC | PFC_FAULT_OVERCURRENT);
#endif
  }
  else if (hadc->Instance == ADC2)
  {
#if PFC_USER_RELAXED_PWM_TEST == 0U
    PFC_INV_AppReportPfcFault(PFC_FAULT_AWD_VAC | PFC_FAULT_VAC_LOST);
#endif
  }
  else
  {
    /* INV AWD仅记录，避免线电压量程或接线问题误关断开环PWM。 */
    INV_Measure_LatchFault(INV_FAULT_ADC_WATCHDOG);
  }
}

void HAL_ADCEx_LevelOutOfWindow2Callback(ADC_HandleTypeDef *hadc)
{
  if ((hadc == NULL) || (hadc->Instance == ADC1))
  {
#if PFC_USER_RELAXED_PWM_TEST == 0U
    PFC_INV_AppReportPfcFault(PFC_FAULT_AWD_VBUS | PFC_FAULT_VBUS_OV);
#endif
  }
  else
  {
    INV_Measure_LatchFault(INV_FAULT_ADC_WATCHDOG);
  }
}

void HAL_HRTIM_Fault3Callback(HRTIM_HandleTypeDef *hhrtim)
{
  (void)hhrtim;
  PFC_INV_AppTrip(PFC_INV_FAULT_HRTIM, PFC_FAULT_HRTIM, INV_FAULT_HRTIM);
}

void HAL_RCC_CSSCallback(void)
{
  PFC_INV_AppTrip(PFC_INV_FAULT_SYSTEM, PFC_FAULT_HRTIM, INV_FAULT_CLOCK);
}
/* USER CODE END 4 */

void Error_Handler(void)
{
  /* USER CODE BEGIN Error_Handler_Debug */
  /* 不可恢复HAL错误先通过寄存器关闭A~E，再停止中断并等待IWDG复位。 */
  PFC_INV_AppEmergencyOff();
  __disable_irq();
  while (1)
  {
  }
  /* USER CODE END Error_Handler_Debug */
}
